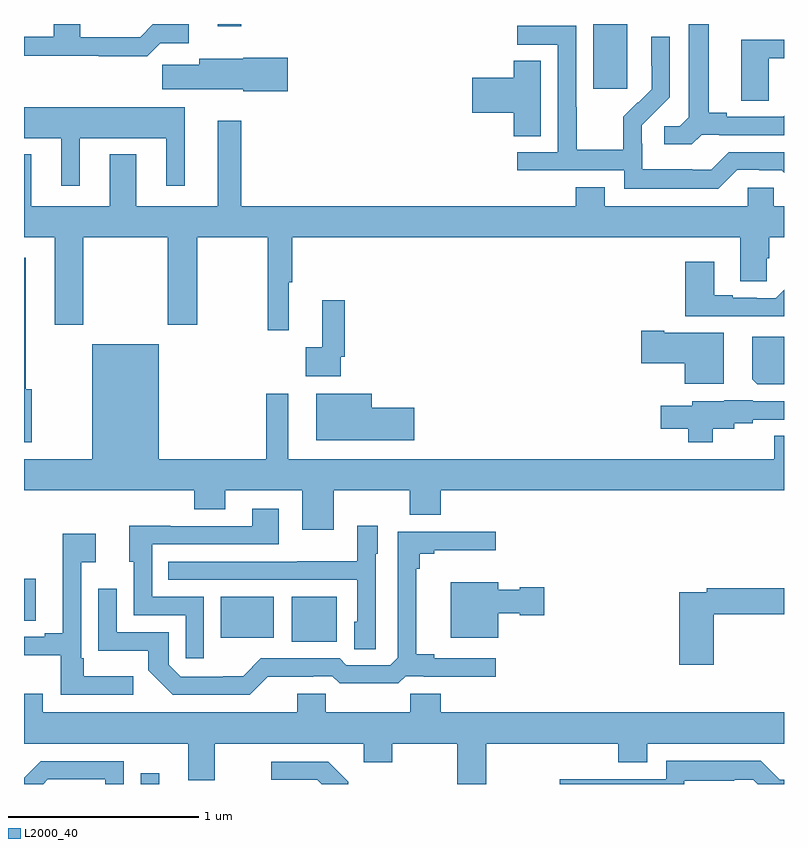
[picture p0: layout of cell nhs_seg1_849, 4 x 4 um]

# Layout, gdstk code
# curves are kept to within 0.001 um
import gdstk
lib = gdstk.Library(unit=1e-6, precision=1e-09)
def R(c, l, rs):  # rectangles x0, y0, x1, y1
    for r in rs: c.add(gdstk.rectangle(r[:2], r[2:], *l))
def P(c, l, *ps):  # polygons
    for p in ps: c.add(gdstk.Polygon(p, *l))
L2000_40 = (2000, 40)

nhs_seg1_849 = lib.new_cell('nhs_seg1_849')
R(nhs_seg1_849, L2000_40, [(157.615,538.199,157.711,538.255), (158.408,538.949,158.647,539.185), (158.036,538.97,158.314,539.185), (157,539.059,157.063,539.278), (159.995,541.857,160.174,542.199), (158.021,542.187,158.143,542.199)])
P(nhs_seg1_849, L2000_40, [(157.718,542.099),(157.867,542.099),(157.867,542.199),(157.727,542.199),(157.727,542.197),(157.678,542.197),(157.611,542.13),(157.297,542.13),(157.297,542.199),(157.157,542.199),(157.157,542.133),(157,542.133),(157,542.032),(157.393,542.032),(157.393,542.03),(157.649,542.03)],
  [(160.566,541.617),(160.66,541.617),(160.66,541.614),(161,541.614),(161,541.716),(160.994,541.71),(160.699,541.71),(160.699,541.733),(160.603,541.733),(160.603,542.199),(160.499,542.199),(160.499,541.709),(160.452,541.662),(160.371,541.662),(160.371,541.565),(160.514,541.565)],
  [(160.755,541.431),(160.871,541.431),(160.871,541.428),(160.989,541.428),(161,541.417),(161,541.524),(160.71,541.524),(160.617,541.431),(160.517,541.431),(160.517,541.435),(160.254,541.435),(160.254,541.569),(160.252,541.569),(160.252,541.666),(160.398,541.814),(160.398,542.132),(160.302,542.132),(160.302,541.978),(160.304,541.978),(160.304,541.856),(160.233,541.785),(160.23,541.788),(160.153,541.711),(160.153,541.537),(159.909,541.537),(159.909,541.76),(159.906,541.76),(159.906,542.19),(159.597,542.19),(159.597,542.091),(159.81,542.091),(159.81,541.524),(159.597,541.524),(159.597,541.428),(160.158,541.428),(160.158,541.331),(160.655,541.331)],
  [(160.92,542.019),(161,542.019),(161,542.115),(160.775,542.115),(160.775,541.795),(160.92,541.795)],
  [(158.389,542.022),(158.154,542.022),(158.154,542.017),(157.922,542.017),(157.922,541.985),(157.728,541.985),(157.728,541.856),(158.154,541.856),(158.154,541.844),(158.389,541.844)],
  [(159.721,542.006),(159.578,542.006),(159.578,541.916),(159.36,541.916),(159.36,541.733),(159.578,541.733),(159.578,541.609),(159.721,541.609)],
  [(157.294,541.598),(157.748,541.598),(157.748,541.347),(157.846,541.347),(157.846,541.762),(157,541.762),(157,541.598),(157.196,541.598),(157.196,541.347),(157.294,541.347)],
  [(158.393,540.84),(158.411,540.84),(158.411,541.076),(160.769,541.076),(160.769,540.844),(160.908,540.844),(160.908,540.966),(160.922,540.966),(160.922,541.076),(161,541.076),(161,541.24),(160.947,541.24),(160.947,541.338),(160.809,541.338),(160.809,541.24),(160.057,541.24),(160.057,541.339),(159.905,541.339),(159.905,541.24),(158.143,541.24),(158.143,541.69),(158.021,541.69),(158.021,541.24),(157.591,541.24),(157.591,541.513),(157.451,541.513),(157.451,541.24),(157.039,541.24),(157.039,541.513),(157,541.513),(157,541.076),(157.163,541.076),(157.163,540.615),(157.311,540.615),(157.311,541.076),(157.756,541.076),(157.756,540.615),(157.911,540.615),(157.911,541.076),(158.283,541.076),(158.283,540.588),(158.393,540.588)],
  [(157.041,540.276),(157.009,540.276),(157.009,540.97),(157,540.97),(157,539.997),(157.041,539.997)],
  [(161,540.8),(160.956,540.756),(160.856,540.756),(160.856,540.759),(160.729,540.759),(160.729,540.772),(160.633,540.772),(160.633,540.949),(160.481,540.949),(160.481,540.662),(161,540.662)],
  [(158.667,540.448),(158.687,540.448),(158.687,540.745),(158.57,540.745),(158.57,540.497),(158.484,540.497),(158.484,540.344),(158.667,540.344)],
  [(160.684,540.574),(160.371,540.574),(160.371,540.584),(160.248,540.584),(160.248,540.413),(160.478,540.413),(160.478,540.305),(160.684,540.305)],
  [(161,540.553),(160.832,540.553),(160.832,540.328),(160.858,540.302),(161,540.302)],
  [(158.629,539.744),(159.029,539.744),(159.029,539.616),(159.193,539.616),(159.193,539.744),(161,539.744),(161,540.032),(160.948,540.032),(160.948,539.908),(158.392,539.908),(158.392,540.253),(158.275,540.253),(158.275,539.908),(157.708,539.908),(157.708,540.514),(157.358,540.514),(157.358,539.908),(157,539.908),(157,539.744),(157.895,539.744),(157.895,539.645),(158.059,539.645),(158.059,539.744),(158.465,539.744),(158.465,539.538),(158.629,539.538)],
  [(159.055,540.179),(158.83,540.179),(158.83,540.253),(158.537,540.253),(158.537,540.008),(159.055,540.008)],
  [(160.624,540.068),(160.738,540.068),(160.738,540.098),(160.836,540.098),(160.836,540.117),(161,540.117),(161,540.213),(160.836,540.213),(160.836,540.22),(160.686,540.22),(160.686,540.214),(160.518,540.214),(160.518,540.19),(160.35,540.19),(160.35,540.068),(160.495,540.068),(160.495,539.999),(160.624,539.999)],
  [(157.947,539.184),(157.674,539.184),(157.674,539.46),(158.341,539.46),(158.341,539.647),(158.201,539.647),(158.201,539.556),(157.771,539.556),(157.771,539.558),(157.553,539.558),(157.553,539.37),(157.578,539.37),(157.578,539.088),(157.851,539.088),(157.851,538.86),(157.947,538.86)],
  [(158.85,539.412),(158.863,539.412),(158.863,539.557),(158.754,539.557),(158.754,539.371),(158.437,539.371),(158.437,539.37),(157.759,539.37),(157.759,539.274),(158.754,539.274),(158.754,539.052),(158.738,539.052),(158.738,538.909),(158.85,538.909)],
  [(158.282,538.763),(158.522,538.763),(158.522,538.767),(158.622,538.767),(158.662,538.728),(158.969,538.728),(159.009,538.767),(159.103,538.767),(159.103,538.763),(159.484,538.763),(159.484,538.86),(159.16,538.86),(159.16,538.883),(159.065,538.883),(159.065,539.333),(159.083,539.333),(159.083,539.41),(159.16,539.41),(159.16,539.429),(159.484,539.429),(159.484,539.526),(158.967,539.526),(158.967,538.863),(158.928,538.824),(158.697,538.824),(158.661,538.86),(158.247,538.86),(158.153,538.766),(158.048,538.766),(158.048,538.764),(157.824,538.764),(157.761,538.827),(157.761,538.998),(157.488,538.998),(157.488,539.227),(157.392,539.227),(157.392,538.901),(157.654,538.901),(157.654,538.799),(157.784,538.668),(158.187,538.668)],
  [(157.576,538.765),(157.315,538.765),(157.315,538.861),(157.302,538.861),(157.302,539.366),(157.378,539.366),(157.378,539.515),(157.205,539.515),(157.205,538.993),(157.109,538.993),(157.109,538.974),(157,538.974),(157,538.877),(157.194,538.877),(157.194,538.668),(157.576,538.668)],
  [(159.496,539.099),(159.609,539.099),(159.609,539.087),(159.739,539.087),(159.739,539.234),(159.609,539.234),(159.609,539.221),(159.496,539.221),(159.496,539.26),(159.245,539.26),(159.245,538.97),(159.496,538.97)],
  [(160.631,539.092),(161,539.092),(161,539.228),(160.594,539.228),(160.594,539.208),(160.448,539.208),(160.448,538.827),(160.631,538.827)],
  [(159.434,538.412),(160.127,538.412),(160.127,538.313),(160.279,538.313),(160.279,538.412),(161,538.412),(161,538.576),(159.194,538.576),(159.194,538.674),(159.034,538.674),(159.034,538.576),(158.589,538.576),(158.589,538.674),(158.438,538.674),(158.438,538.576),(157.099,538.576),(157.099,538.675),(157,538.675),(157,538.412),(157.865,538.412),(157.865,538.218),(158.005,538.218),(158.005,538.412),(158.789,538.412),(158.789,538.313),(158.937,538.313),(158.937,538.412),(159.281,538.412),(159.281,538.199),(159.434,538.199)],
  [(160.476,538.217),(160.739,538.217),(160.739,538.221),(160.839,538.221),(160.861,538.199),(161,538.199),(161,538.221),(160.977,538.221),(160.877,538.321),(160.38,538.321),(160.38,538.224),(159.819,538.224),(159.819,538.199),(160.476,538.199)],
  [(157.125,538.224),(157.428,538.224),(157.428,538.199),(157.524,538.199),(157.524,538.32),(157.089,538.32),(157,538.231),(157,538.199),(157.1,538.199)],
  [(158.707,538.211),(158.601,538.317),(158.301,538.317),(158.301,538.221),(158.544,538.221),(158.566,538.199),(158.707,538.199)])

lib.write_gds('nhs_seg1_849.gds')
